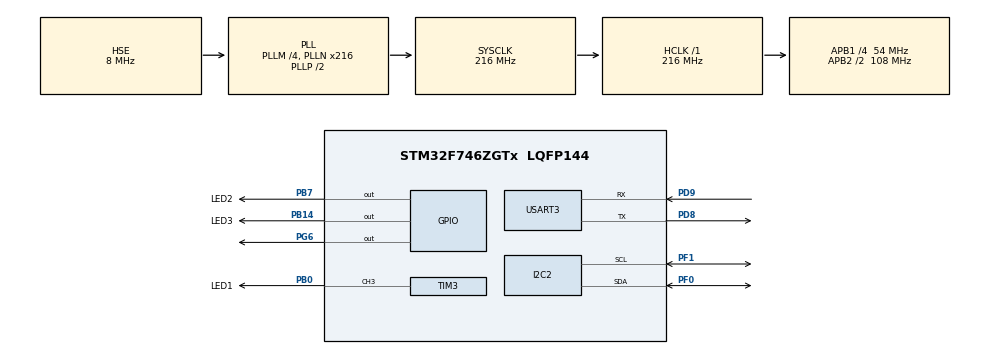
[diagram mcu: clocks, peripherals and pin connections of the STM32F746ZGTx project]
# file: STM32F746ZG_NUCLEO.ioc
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Dma.Request0=TIM3_CH3
Dma.TIM3_CH3.0.Direction=DMA_MEMORY_TO_PERIPH
Dma.TIM3_CH3.0.FIFOMode=DMA_FIFOMODE_DISABLE
Dma.TIM3_CH3.0.Instance=DMA1_Stream7
Dma.TIM3_CH3.0.MemDataAlignment=DMA_MDATAALIGN_HALFWORD
Dma.TIM3_CH3.0.MemInc=DMA_MINC_ENABLE
Dma.TIM3_CH3.0.Mode=DMA_CIRCULAR
Dma.TIM3_CH3.0.PeriphDataAlignment=DMA_PDATAALIGN_HALFWORD
Dma.TIM3_CH3.0.PeriphInc=DMA_PINC_DISABLE
Dma.TIM3_CH3.0.Priority=DMA_PRIORITY_LOW
I2C2.Timing=0x20404768
Mcu.Family=STM32F7
Mcu.Name=STM32F746ZGTx
Mcu.Package=LQFP144
NVIC.DMA1_Stream7_IRQn=true\:0\:0\:false\:false\:true\:false\:true
NVIC.PriorityGroup=NVIC_PRIORITYGROUP_4
PB0.GPIO_Label=LED1
PB0.Signal=S_TIM3_CH3
PB14.GPIO_Label=LED3
PB14.Signal=GPIO_Output
PB7.GPIO_Label=LED2
PB7.Signal=GPIO_Output
PD8.Mode=Asynchronous
PD8.Signal=USART3_TX
PD9.Mode=Asynchronous
PD9.Signal=USART3_RX
PF0.Mode=I2C
PF0.Signal=I2C2_SDA
PF1.Mode=I2C
PF1.Signal=I2C2_SCL
PG6.Signal=GPIO_Output
PH0/OSC_IN.Mode=HSE-External-Clock-Source
PH0/OSC_IN.Signal=RCC_OSC_IN
PH1/OSC_OUT.Mode=HSE-External-Clock-Source
PH1/OSC_OUT.Signal=RCC_OSC_OUT
ProjectManager.HeapSize=0x1000
ProjectManager.StackSize=0x1000
ProjectManager.TargetToolchain=EWARM V8.32
RCC.AHBFreq_Value=216000000
RCC.APB1CLKDivider=RCC_HCLK_DIV4
RCC.APB1Freq_Value=54000000
RCC.APB1TimFreq_Value=108000000
RCC.APB2CLKDivider=RCC_HCLK_DIV2
RCC.APB2Freq_Value=108000000
RCC.APB2TimFreq_Value=216000000
RCC.CortexFreq_Value=216000000
RCC.HCLKFreq_Value=216000000
RCC.HSE_VALUE=8000000
RCC.HSI_VALUE=16000000
RCC.LSE_VALUE=32768
RCC.PLLM=4
RCC.PLLN=216
RCC.PLLQ=9
RCC.PLLSourceVirtual=RCC_PLLSOURCE_HSE
RCC.SYSCLKFreq_VALUE=216000000
RCC.SYSCLKSource=RCC_SYSCLKSOURCE_PLLCLK
RCC.USBFreq_Value=48000000
RCC.VCOOutputFreq_Value=432000000
SH.S_TIM3_CH3.0=TIM3_CH3,PWM Generation3 CH3
STMicroelectronics.X-CUBE-COMPONENTS.1.2.3.BoardOoPartCcComponentsJjLED=PWM
STMicroelectronics.X-CUBE-COMPONENTS.1.2.3.LED_TIM_CHANNEL=TIM_CHANNEL_3
STMicroelectronics.X-CUBE-COMPONENTS.1.2.3.LED_TIM_HANDLER=htim3
TIM3.Channel-PWM\ Generation3\ CH3=TIM_CHANNEL_3
TIM3.Period=2048
TIM3.Prescaler=215
USART3.VirtualMode-Asynchronous=VM_ASYNC
VP_STMicroelectronics.X-CUBE-COMPONENTS_VS_ComponentsJjBoardOoPart_1.0.0.Mode=ComponentsJjBoardOoPart
VP_TIM3_VS_ClockSourceINT.Mode=Internal
VP_TIM4_VS_ClockSourceINT.Mode=Internal
board=custom

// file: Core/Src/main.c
/* USER CODE BEGIN Header */
/**
  ******************************************************************************
  * @file           : main.c
  * @brief          : Main program body
  ******************************************************************************
  * @attention
  *
  * <h2><center>&copy; Copyright (c) 2020 STMicroelectronics.
  * All rights reserved.</center></h2>
  *
  * This software component is licensed by ST under Ultimate Liberty license
  * SLA0044, the "License"; You may not use this file except in compliance with
  * the License. You may obtain a copy of the License at:
  *                             www.st.com/SLA0044
  *
  ******************************************************************************
  */
/* USER CODE END Header */
#include "main.h"
#include "dma.h"
#include "i2c.h"
#include "tim.h"
#include "usart.h"
#include "gpio.h"

/* USER CODE BEGIN Includes */
#include "led.h"
/* USER CODE END Includes */

void SystemClock_Config(void);

int main(void)
{

  /* MCU Configuration--------------------------------------------------------*/

  /* Reset of all peripherals, Initializes the Flash interface and the Systick. */
  HAL_Init();

  /* Configure the system clock */
  SystemClock_Config();

  /* Initialize all configured peripherals */
  MX_GPIO_Init();
  MX_DMA_Init();
  MX_USART3_UART_Init();
  MX_TIM3_Init();
  MX_I2C2_Init();
  MX_TIM4_Init();
  /* USER CODE BEGIN 2 */
  BSP_LED_Init(LED2);
#if 1
  BSP_LED_Fade(LED2);
  HAL_Delay(5000);
#endif

  /* USER CODE END 2 */

  /* Infinite loop */
  /* USER CODE BEGIN WHILE */
  while (1)
  {
#if 0
#if 1
      for(int i = 0; i < 100; i++)
      {
        BSP_LED_SetLuminosity(LED2, i);
        HAL_Delay(5);
      }

      for(int i = 0; i < 100; i++)
      {
        BSP_LED_SetLuminosity(LED2, 100 - i);
        HAL_Delay(5);
      }
#else
      BSP_LED_Toggle(LED2);
      HAL_Delay(1000);
#endif
#endif
    /* USER CODE END WHILE */

  }
}

void SystemClock_Config(void)
{
  RCC_OscInitTypeDef RCC_OscInitStruct = {0};
  RCC_ClkInitTypeDef RCC_ClkInitStruct = {0};
  RCC_PeriphCLKInitTypeDef PeriphClkInitStruct = {0};

  /** Configure the main internal regulator output voltage
  */
  __HAL_RCC_PWR_CLK_ENABLE();
  __HAL_PWR_VOLTAGESCALING_CONFIG(PWR_REGULATOR_VOLTAGE_SCALE1);
  /** Initializes the RCC Oscillators according to the specified parameters
  * in the RCC_OscInitTypeDef structure.
  */
  RCC_OscInitStruct.OscillatorType = RCC_OSCILLATORTYPE_HSE;
  RCC_OscInitStruct.HSEState = RCC_HSE_BYPASS;
  RCC_OscInitStruct.PLL.PLLState = RCC_PLL_ON;
  RCC_OscInitStruct.PLL.PLLSource = RCC_PLLSOURCE_HSE;
  RCC_OscInitStruct.PLL.PLLM = 4;
  RCC_OscInitStruct.PLL.PLLN = 216;
  RCC_OscInitStruct.PLL.PLLP = RCC_PLLP_DIV2;
  RCC_OscInitStruct.PLL.PLLQ = 9;
  if (HAL_RCC_OscConfig(&RCC_OscInitStruct) != HAL_OK)
  {
    Error_Handler();
  }
  /** Activate the Over-Drive mode
  */
  if (HAL_PWREx_EnableOverDrive() != HAL_OK)
  {
    Error_Handler();
  }
  /** Initializes the CPU, AHB and APB buses clocks
  */
  RCC_ClkInitStruct.ClockType = RCC_CLOCKTYPE_HCLK|RCC_CLOCKTYPE_SYSCLK
                              |RCC_CLOCKTYPE_PCLK1|RCC_CLOCKTYPE_PCLK2;
  RCC_ClkInitStruct.SYSCLKSource = RCC_SYSCLKSOURCE_PLLCLK;
  RCC_ClkInitStruct.AHBCLKDivider = RCC_SYSCLK_DIV1;
  RCC_ClkInitStruct.APB1CLKDivider = RCC_HCLK_DIV4;
  RCC_ClkInitStruct.APB2CLKDivider = RCC_HCLK_DIV2;

  if (HAL_RCC_ClockConfig(&RCC_ClkInitStruct, FLASH_LATENCY_7) != HAL_OK)
  {
    Error_Handler();
  }
  PeriphClkInitStruct.PeriphClockSelection = RCC_PERIPHCLK_USART3|RCC_PERIPHCLK_I2C2;
  PeriphClkInitStruct.Usart3ClockSelection = RCC_USART3CLKSOURCE_PCLK1;
  PeriphClkInitStruct.I2c2ClockSelection = RCC_I2C2CLKSOURCE_PCLK1;
  if (HAL_RCCEx_PeriphCLKConfig(&PeriphClkInitStruct) != HAL_OK)
  {
    Error_Handler();
  }
}

void Error_Handler(void)
{
}

/************************ (C) COPYRIGHT STMicroelectronics *****END OF FILE****/
